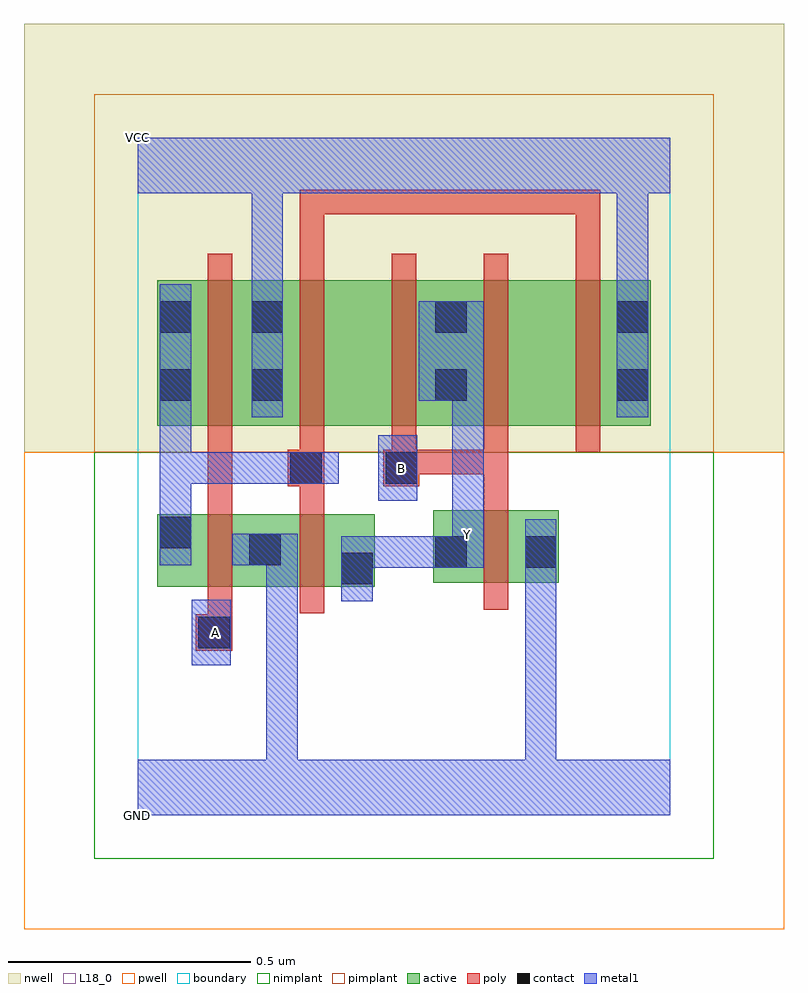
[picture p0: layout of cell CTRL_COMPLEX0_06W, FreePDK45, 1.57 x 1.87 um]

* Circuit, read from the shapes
.subckt CTRL_COMPLEX0_06W A B GND VCC Y
M1 GND A n1 VSUBS nfet w=0.15u l=0.05u
M2 Y n1 GND VSUBS nfet w=0.15u l=0.05u
M3 GND B Y VSUBS nfet w=0.15u l=0.05u
M4 VCC A n1 n2 pfet w=0.3u l=0.05u
M5 n3 n1 VCC n2 pfet w=0.3u l=0.05u
M6 Y B n3 n2 pfet w=0.3u l=0.05u
M7 n4 B Y n2 pfet w=0.3u l=0.05u
M8 VCC n1 n4 n2 pfet w=0.3u l=0.05u
.ends

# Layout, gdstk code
import gdstk
lib = gdstk.Library(unit=1e-6, precision=1e-09)
def R(c, l, rs):  # rectangles x0, y0, x1, y1
    for r in rs: c.add(gdstk.rectangle(r[:2], r[2:], *l))
def A(c, l, x, y, w, h, nx, ny, dx, dy):  # array of equal rectangles
    R(c, l, [(x+i*dx, y+j*dy, x+i*dx+w, y+j*dy+h) for i in range(nx) for j in range(ny)])
active = (1, 0)
pwell = (2, 0)
nwell = (3, 0)
nimplant = (4, 0)
pimplant = (5, 0)
poly = (9, 0)
contact = (10, 0)
metal1 = (11, 0)
L18_0 = (18, 0)
boundary = (235, 0)

ctrl_complex0_06w = lib.new_cell('CTRL_COMPLEX0_06W')
R(ctrl_complex0_06w, active, [(0.04,0.472,0.3,0.622), (0.225,0.472,0.3,0.622), (0.225,0.472,0.49,0.622), (0.415,0.472,0.49,0.622), (0.61,0.48,0.87,0.63), (0.61,0.48,0.685,0.63), (0.795,0.507,0.87,0.63), (0.04,0.545,0.115,0.622), (0.04,0.805,0.115,1.105), (0.04,0.805,0.305,1.105), (0.23,0.805,0.305,1.105), (0.23,0.805,0.455,1.105), (0.455,0.805,0.685,1.105), (0.61,0.805,0.685,1.105), (0.61,0.805,0.835,1.105), (0.835,0.805,1.06,1.105), (0.985,0.805,1.06,1.105)])
R(ctrl_complex0_06w, pwell, [(-0.235,-0.235,1.335,0.75)])
R(ctrl_complex0_06w, nwell, [(-0.235,0.75,1.335,1.635)])
R(ctrl_complex0_06w, nimplant, [(-0.09,-0.09,1.19,0.75)])
R(ctrl_complex0_06w, pimplant, [(-0.09,0.75,1.19,1.49)])
A(ctrl_complex0_06w, poly, 0.335, 0.705, 0.05, 0.095, 3, 1, 0.19, 0)
A(ctrl_complex0_06w, poly, 0.145, 0.75, 0.05, 0.41, 5, 1, 0.19, 0)
R(ctrl_complex0_06w, poly, [(0.12,0.34,0.195,0.415), (0.145,0.365,0.195,0.467), (0.145,0.417,0.195,0.677), (0.335,0.417,0.385,0.677), (0.715,0.425,0.765,0.685), (0.145,0.627,0.195,0.722), (0.335,0.627,0.385,0.73), (0.715,0.635,0.765,0.755), (0.145,0.672,0.195,0.722), (0.145,0.672,0.195,0.8), (0.31,0.68,0.385,0.755), (0.507,0.68,0.582,0.755), (0.532,0.705,0.582,0.755), (0.532,0.705,0.582,0.755), (0.532,0.705,0.765,0.755), (0.715,0.705,0.765,0.755), (0.335,1.11,0.385,1.292), (0.905,1.11,0.955,1.292), (0.335,1.242,0.385,1.292), (0.335,1.242,0.385,1.292), (0.335,1.242,0.385,1.292), (0.335,1.242,0.632,1.292), (0.582,1.242,0.632,1.292), (0.582,1.242,0.632,1.292), (0.582,1.242,0.632,1.292), (0.582,1.242,0.765,1.292), (0.715,1.242,0.955,1.292), (0.715,1.242,0.765,1.292), (0.715,1.242,0.765,1.292), (0.715,1.242,0.765,1.292), (0.905,1.242,0.955,1.292)])
R(ctrl_complex0_06w, contact, [(0.125,0.345,0.19,0.41), (0.42,0.477,0.485,0.542), (0.615,0.512,0.68,0.577), (0.8,0.512,0.865,0.577), (0.23,0.517,0.295,0.582), (0.045,0.552,0.11,0.617), (0.315,0.685,0.38,0.75), (0.512,0.685,0.577,0.75), (0.045,0.857,0.11,0.922), (0.235,0.857,0.3,0.922), (0.615,0.857,0.68,0.922), (0.99,0.857,1.055,0.922), (0.045,0.997,0.11,1.062), (0.235,0.997,0.3,1.062), (0.615,0.997,0.68,1.062), (0.99,0.997,1.055,1.062)])
R(ctrl_complex0_06w, metal1, [(0,0,1.1,0.115), (0.265,0.05,0.33,0.115), (0.265,0.05,0.33,0.115), (0.265,0.05,0.33,0.115), (0.265,0.05,0.33,0.115), (0.265,0.05,0.33,0.582), (0.8,0.05,0.865,0.115), (0.8,0.05,0.865,0.115), (0.8,0.05,0.865,0.115), (0.8,0.05,0.865,0.115), (0.8,0.05,0.865,0.115), (0.8,0.05,0.865,0.115), (0.8,0.05,0.865,0.542), (0.112,0.31,0.192,0.445), (0.42,0.442,0.485,0.577), (0.8,0.477,0.865,0.612), (0.42,0.512,0.485,0.577), (0.42,0.512,0.485,0.577), (0.42,0.512,0.645,0.577), (0.58,0.512,0.715,0.577), (0.65,0.512,0.715,0.577), (0.65,0.512,0.715,0.647), (0.045,0.517,0.11,0.652), (0.195,0.517,0.33,0.582), (0.265,0.517,0.33,0.582), (0.265,0.517,0.33,0.582), (0.65,0.582,0.715,0.922), (0.045,0.587,0.11,0.75), (0.497,0.65,0.577,0.785), (0.045,0.685,0.11,0.887), (0.045,0.685,0.112,0.75), (0.047,0.685,0.112,0.75), (0.047,0.685,0.112,0.75), (0.047,0.685,0.345,0.75), (0.28,0.685,0.345,0.75), (0.28,0.685,0.345,0.75), (0.28,0.685,0.415,0.75), (0.045,0.822,0.11,1.097), (0.235,0.822,0.3,1.097), (0.99,0.822,1.055,1.097), (0.58,0.857,0.715,1.062), (0.235,1.032,0.3,1.35), (0.99,1.032,1.055,1.35), (0,1.285,1.1,1.4), (0.235,1.285,0.3,1.35), (0.235,1.285,0.3,1.35), (0.99,1.285,1.055,1.35), (0.99,1.285,1.055,1.35)])
R(ctrl_complex0_06w, L18_0, [(0,0,1.1,0.115), (0.265,0.05,0.33,0.115), (0.265,0.05,0.33,0.115), (0.265,0.05,0.33,0.115), (0.265,0.05,0.33,0.115), (0.265,0.05,0.33,0.582), (0.8,0.05,0.865,0.115), (0.8,0.05,0.865,0.115), (0.8,0.05,0.865,0.115), (0.8,0.05,0.865,0.115), (0.8,0.05,0.865,0.115), (0.8,0.05,0.865,0.115), (0.8,0.05,0.865,0.542), (0.112,0.31,0.192,0.445), (0.127,0.345,0.192,0.41), (0.42,0.442,0.485,0.577), (0.8,0.477,0.865,0.612), (0.42,0.512,0.485,0.577), (0.42,0.512,0.485,0.577), (0.42,0.512,0.645,0.577), (0.58,0.512,0.715,0.577), (0.65,0.512,0.715,0.577), (0.65,0.512,0.715,0.647), (0.195,0.517,0.33,0.582), (0.265,0.517,0.33,0.582), (0.265,0.517,0.33,0.582), (0.65,0.547,0.715,0.612), (0.65,0.582,0.715,0.922), (0.497,0.65,0.577,0.785), (0.512,0.685,0.577,0.75), (0.235,0.822,0.3,1.097), (0.99,0.822,1.055,1.097), (0.58,0.857,0.715,1.062), (0.235,1.032,0.3,1.35), (0.99,1.032,1.055,1.35), (0,1.285,1.1,1.4), (0.235,1.285,0.3,1.35), (0.235,1.285,0.3,1.35), (0.99,1.285,1.055,1.35), (0.99,1.285,1.055,1.35)])
R(ctrl_complex0_06w, boundary, [(0,0,1.1,1.4)])
ctrl_complex0_06w.add(gdstk.Label('A', (0.16,0.377), layer=11, texttype=0))
ctrl_complex0_06w.add(gdstk.Label('B', (0.545,0.717), layer=11, texttype=0))
ctrl_complex0_06w.add(gdstk.Label('Y', (0.682,0.58), layer=11, texttype=0))
ctrl_complex0_06w.add(gdstk.Label('VCC', (0,1.4), layer=11, texttype=0))
ctrl_complex0_06w.add(gdstk.Label('GND', (0,0), layer=11, texttype=0))

lib.write_gds('CTRL_COMPLEX0_06W.gds')
